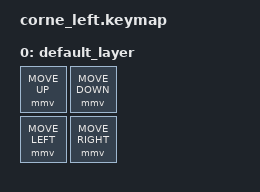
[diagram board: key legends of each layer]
#include <behaviors.dtsi>
#include <dt-bindings/zmk/keys.h>
#include <dt-bindings/zmk/mouse.h>

/ {
    keymap {
        compatible = "zmk,keymap";

        default_layer {
            bindings = <
                &mmv MOVE_UP     &mmv MOVE_DOWN
                &mmv MOVE_LEFT   &mmv MOVE_RIGHT
            >;
        };
    };
};
